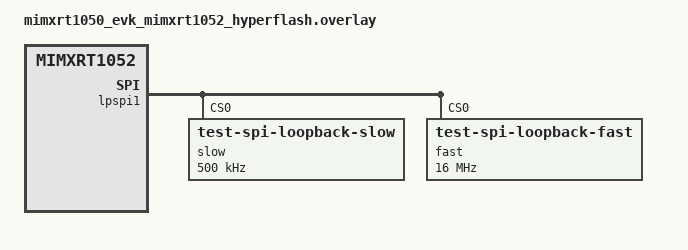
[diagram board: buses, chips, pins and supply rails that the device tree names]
/*
 * Copyright 2023 NXP
 *
 * SPDX-License-Identifier: Apache-2.0
 *
 */

tst_dma0: &edma0 {};

#include <zephyr/dt-bindings/memory-attr/memory-attr-arm.h>

&dtcm {
	zephyr,memory-attr = <DT_MEM_ARM(ATTR_MPU_RAM_NOCACHE)>;
};

&itcm {
	zephyr,memory-attr = <DT_MEM_ARM(ATTR_MPU_RAM_NOCACHE)>;
};

&lpspi1 {
	slow@0 {
		compatible = "test-spi-loopback-slow";
		reg = <0>;
		spi-max-frequency = <500000>;
		spi-cs-setup-delay-ns = <1000>;
		spi-cs-hold-delay-ns = <1000>;
		spi-interframe-delay-ns = <1000>;
	};
	fast@0 {
		compatible = "test-spi-loopback-fast";
		reg = <0>;
		spi-max-frequency = <16000000>;
		spi-cs-setup-delay-ns = <100>;
		spi-cs-hold-delay-ns = <100>;
	};
	transfer-delay = <100>;
	sck-pcs-delay = <200>;
	pcs-sck-delay = <200>;
};
